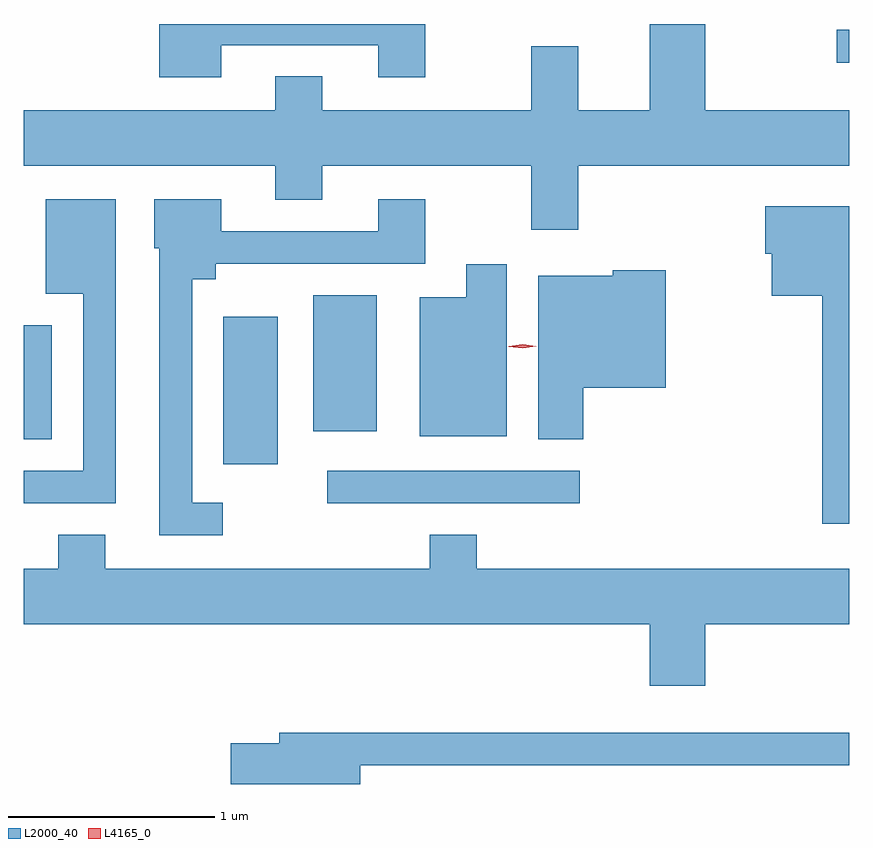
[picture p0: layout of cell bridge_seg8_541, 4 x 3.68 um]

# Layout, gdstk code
import gdstk
lib = gdstk.Library(unit=1e-6, precision=1e-09)
def R(c, l, rs):  # rectangles x0, y0, x1, y1
    for r in rs: c.add(gdstk.rectangle(r[:2], r[2:], *l))
def P(c, l, *ps):  # polygons
    for p in ps: c.add(gdstk.Polygon(p, *l))
L2000_40 = (2000, 40)
L4165_0 = (4165, 0)

bridge_seg8_541 = lib.new_cell('bridge_seg8_541')
R(bridge_seg8_541, L2000_40, [(553.173,1863.641,554.398,1863.799), (552.671,1863.831,552.934,1864.544), (551.703,1863.951,551.839,1864.504), (553.106,1863.991,553.414,1864.649), (555.643,1865.776,555.703,1865.934)])
P(bridge_seg8_541, L2000_40, [(554.389,1865.276),(555.703,1865.276),(555.703,1865.544),(555.004,1865.544),(555.004,1865.963),(554.736,1865.963),(554.736,1865.544),(554.389,1865.544),(554.389,1865.854),(554.161,1865.854),(554.161,1865.544),(553.149,1865.544),(553.149,1865.709),(552.921,1865.709),(552.921,1865.544),(551.703,1865.544),(551.703,1865.276),(552.921,1865.276),(552.921,1865.111),(553.149,1865.111),(553.149,1865.276),(554.161,1865.276),(554.161,1864.966),(554.389,1864.966)],
  [(552.659,1865.861),(553.421,1865.861),(553.421,1865.706),(553.649,1865.706),(553.649,1865.963),(552.361,1865.963),(552.361,1865.706),(552.659,1865.706)],
  [(552.149,1865.114),(551.811,1865.114),(551.811,1864.656),(551.991,1864.656),(551.991,1863.799),(551.703,1863.799),(551.703,1863.641),(552.149,1863.641)],
  [(552.668,1863.644),(552.519,1863.644),(552.519,1864.726),(552.634,1864.726),(552.634,1864.801),(553.649,1864.801),(553.649,1865.114),(553.421,1865.114),(553.421,1864.959),(552.659,1864.959),(552.659,1865.114),(552.336,1865.114),(552.336,1864.876),(552.361,1864.876),(552.361,1863.486),(552.668,1863.486)],
  [(555.703,1865.079),(555.296,1865.079),(555.296,1864.851),(555.326,1864.851),(555.326,1864.646),(555.571,1864.646),(555.571,1863.543),(555.703,1863.543)],
  [(554.044,1864.799),(553.846,1864.799),(553.846,1864.639),(553.621,1864.639),(553.621,1863.966),(554.044,1863.966)],
  [(554.414,1864.201),(554.814,1864.201),(554.814,1864.769),(554.556,1864.769),(554.556,1864.744),(554.196,1864.744),(554.196,1863.951),(554.414,1863.951)],
  [(555.004,1863.056),(555.703,1863.056),(555.703,1863.324),(553.899,1863.324),(553.899,1863.489),(553.671,1863.489),(553.671,1863.324),(552.099,1863.324),(552.099,1863.489),(551.871,1863.489),(551.871,1863.324),(551.703,1863.324),(551.703,1863.056),(554.736,1863.056),(554.736,1862.756),(555.004,1862.756)],
  [(553.334,1862.371),(555.703,1862.371),(555.703,1862.529),(552.941,1862.529),(552.941,1862.479),(552.706,1862.479),(552.706,1862.281),(553.334,1862.281)])
P(bridge_seg8_541, L4165_0, [(554.12,1864.391),(554.054,1864.4),(554.053,1864.4),(554.054,1864.401),(554.12,1864.411),(554.186,1864.402),(554.186,1864.402),(554.186,1864.401)])

lib.write_gds('bridge_seg8_541.gds')
